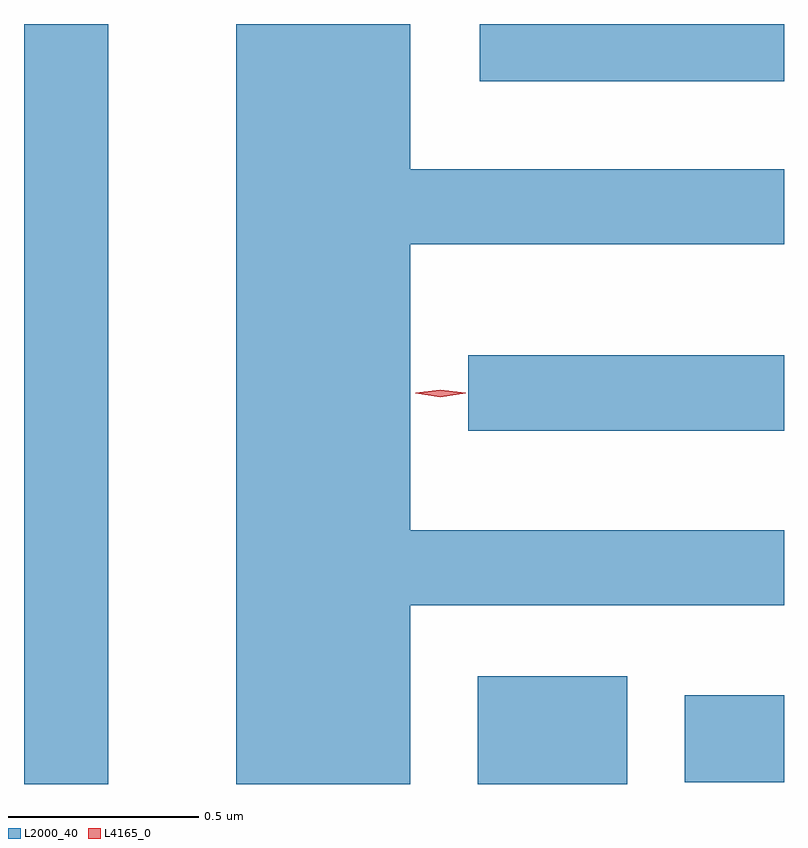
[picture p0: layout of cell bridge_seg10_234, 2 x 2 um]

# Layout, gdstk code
import gdstk
lib = gdstk.Library(unit=1e-6, precision=1e-09)
def R(c, l, rs):  # rectangles x0, y0, x1, y1
    for r in rs: c.add(gdstk.rectangle(r[:2], r[2:], *l))
def P(c, l, *ps):  # polygons
    for p in ps: c.add(gdstk.Polygon(p, *l))
L2000_40 = (2000, 40)
L4165_0 = (4165, 0)

bridge_seg10_234 = lib.new_cell('bridge_seg10_234')
R(bridge_seg10_234, L2000_40, [(1749.512,2126.296,1749.734,2128.296), (1750.706,2126.296,1751.099,2126.579), (1751.251,2126.301,1751.512,2126.529), (1750.681,2127.226,1751.512,2127.424), (1750.711,2128.146,1751.512,2128.296)])
P(bridge_seg10_234, L2000_40, [(1750.529,2126.766),(1751.512,2126.766),(1751.512,2126.964),(1750.529,2126.964),(1750.529,2127.716),(1751.512,2127.716),(1751.512,2127.914),(1750.529,2127.914),(1750.529,2128.296),(1750.071,2128.296),(1750.071,2126.296),(1750.529,2126.296)])
P(bridge_seg10_234, L4165_0, [(1750.608,2127.314),(1750.543,2127.324),(1750.542,2127.324),(1750.543,2127.325),(1750.608,2127.334),(1750.674,2127.325),(1750.674,2127.324),(1750.674,2127.324)])

lib.write_gds('bridge_seg10_234.gds')
